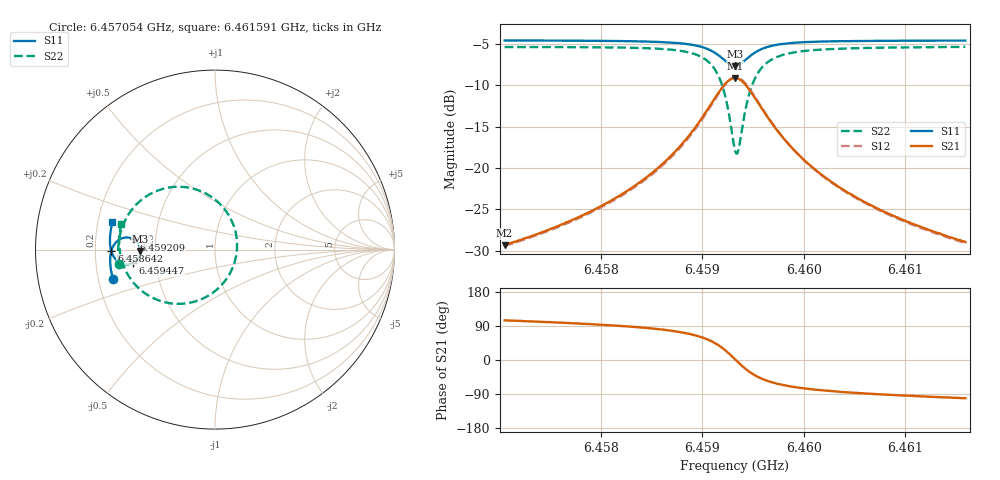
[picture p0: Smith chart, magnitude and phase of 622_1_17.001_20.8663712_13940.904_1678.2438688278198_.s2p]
#  HZ  S  RI  R  50.00
! Rohde & Schwarz Vector Network Analyzer
! Rohde-Schwarz,ZNB20-2Port,1311601062101988,3.16
! Created: UTC 3/20/2024, 11:19:58 PM
! freq[Hz]  re:S11  im:S11  re:S21  im:S21  re:S12  im:S12  re:S22  im:S22
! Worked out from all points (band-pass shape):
!   401 points, 6.457054 GHz to 6.461591 GHz, reference 50 ohm
!   highest |S21| = -9.09 dB at 6.459322 GHz (marker M1); lowest = -29.4 dB at 6.457054 GHz (marker M2)
!   |S21| within 3 dB of the highest: 6.459096 GHz to 6.45955 GHz (453.9 kHz wide, 0.00703 % of centre)
!   lowest |S11| = -7.6 dB at 6.459322 GHz (marker M3), VSWR 2.42, Z = 20.6 - j0.381 ohm
!   |S11| at or under -10 dB: nowhere
!   |S22| runs from -18.2 to -5.3 dB; largest |S21 - S12| = 0.014
!   S11 on the Smith chart (normalised r, x): 6.457054 GHz: 0.26, -0.13; 6.458642 GHz: 0.27, -0.01; 6.459209 GHz: 0.38, +0.05; 6.459447 GHz: 0.37, -0.07; 6.461591 GHz: 0.26, +0.12
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6.4570539e9  -0.5683 -0.1663  -0.0086 0.0329  -0.00687 0.0329  -0.535 -0.0776
6.4578139e9  -0.5816 -0.0994  -0.00519 0.0512  -0.00263 0.0505  -0.5389 0.0126
6.4582449e9  -0.584 -0.0557  0.00137 0.0716  0.00462 0.0702  -0.5292 0.0823
6.4585738e9  -0.5798 -0.0161  0.0154 0.1001  0.0192 0.0973  -0.5032 0.1581
6.4586419e9  -0.5774 -0.00657  0.0206 0.1086  0.0248 0.1053  -0.4928 0.1781
6.4588347e9  -0.5643 0.0238  0.0479 0.1397  0.052 0.1348  -0.4418 0.2476
6.4589822e9  -0.5414 0.05  0.094 0.1703  0.0972 0.1634  -0.3565 0.3121
6.4591183e9  -0.497 0.0675  0.1826 0.1866  0.1835 0.1791  -0.1944 0.3499
6.459209e9  -0.4519 0.0566  0.2738 0.1544  0.2738 0.1486  -0.0256 0.2973
6.4592771e9  -0.4224 0.0239  0.3347 0.0811  0.3369 0.0758  0.0909 0.1649
6.4593224e9  -0.4154 -0.00763  0.3508 0.012  0.3547 0.00503  0.1229 0.0353
6.4593565e9  -0.4196 -0.0317  0.3447 -0.0412  0.3488 -0.0506  0.1105 -0.0661
6.4594018e9  -0.4355 -0.0581  0.3154 -0.102  0.3176 -0.1142  0.0508 -0.1812
6.4594472e9  -0.458 -0.0748  0.2723 -0.1435  0.2715 -0.1571  -0.0367 -0.2568
6.459538e9  -0.5021 -0.0817  0.186 -0.1745  0.1795 -0.1864  -0.2089 -0.3023
6.459606e9  -0.5266 -0.0742  0.1366 -0.1721  0.1286 -0.1813  -0.304 -0.2863
6.4596854e9  -0.5465 -0.0611  0.0966 -0.1598  0.0878 -0.1661  -0.3791 -0.2506
6.4598442e9  -0.5681 -0.0332  0.0513 -0.1311  0.0435 -0.1338  -0.4605 -0.1768
6.4600824e9  -0.581 0.00245  0.0221 -0.0988  0.0162 -0.0994  -0.5084 -0.0929
6.4604113e9  -0.5853 0.042  0.00639 -0.0721  0.00214 -0.0717  -0.5294 -0.0153
6.4608424e9  -0.5834 0.0857  -0.00162 -0.0526  -0.00458 -0.0517  -0.5334 0.0556
6.461591e9  -0.5713 0.1522  -0.00679 -0.035  -0.00854 -0.0341  -0.5218 0.1449
